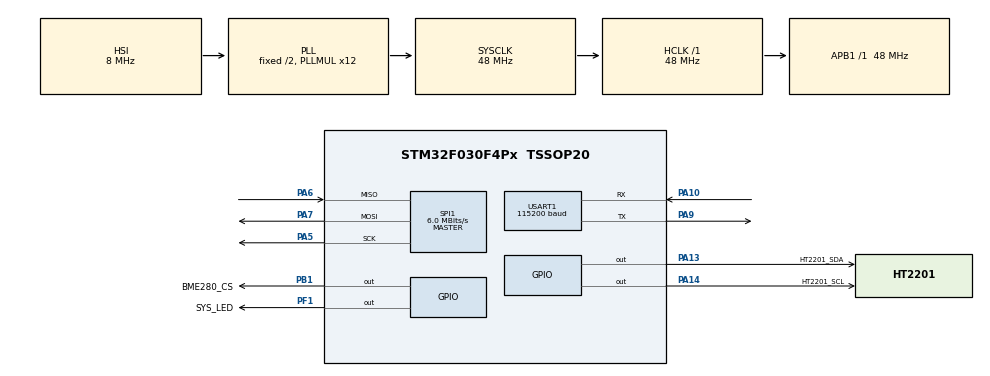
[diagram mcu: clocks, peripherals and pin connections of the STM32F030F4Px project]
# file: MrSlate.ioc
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Mcu.Family=STM32F0
Mcu.Name=STM32F030F4Px
Mcu.Package=TSSOP20
NVIC.USART1_IRQn=true\:2\:0\:true\:false\:true\:true
PA10.Mode=Asynchronous
PA10.Signal=USART1_RX
PA13.GPIO_Label=HT2201_SDA
PA13.PinState=GPIO_PIN_SET
PA13.Signal=GPIO_Output
PA14.GPIO_Label=HT2201_SCL
PA14.PinState=GPIO_PIN_SET
PA14.Signal=GPIO_Output
PA5.Mode=Full_Duplex_Master
PA5.Signal=SPI1_SCK
PA6.Mode=Full_Duplex_Master
PA6.Signal=SPI1_MISO
PA7.Mode=Full_Duplex_Master
PA7.Signal=SPI1_MOSI
PA9.Mode=Asynchronous
PA9.Signal=USART1_TX
PB1.GPIO_Label=BME280_CS
PB1.PinState=GPIO_PIN_SET
PB1.Signal=GPIO_Output
PF1-OSC_OUT.GPIO_Label=SYS_LED
PF1-OSC_OUT.PinState=GPIO_PIN_SET
PF1-OSC_OUT.Signal=GPIO_Output
ProjectManager.HeapSize=0x200
ProjectManager.StackSize=0x400
ProjectManager.TargetToolchain=MDK-ARM V5
RCC.AHBFreq_Value=48000000
RCC.APB1Freq_Value=48000000
RCC.APB1TimFreq_Value=48000000
RCC.HCLKFreq_Value=48000000
RCC.PLLMUL=RCC_PLL_MUL12
RCC.SYSCLKFreq_VALUE=48000000
RCC.SYSCLKSource=RCC_SYSCLKSOURCE_PLLCLK
SPI1.BaudRatePrescaler=SPI_BAUDRATEPRESCALER_8
SPI1.CalculateBaudRate=6.0 MBits/s
SPI1.DataSize=SPI_DATASIZE_8BIT
SPI1.Direction=SPI_DIRECTION_2LINES
SPI1.Mode=SPI_MODE_MASTER
SPI1.VirtualType=VM_MASTER
USART1.BaudRate=115200
USART1.VirtualMode-Asynchronous=VM_ASYNC
board=MrSlate

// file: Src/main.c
/**
  ******************************************************************************
  * File Name          : main.c
  * Description        : Main program body
  ******************************************************************************
  ** This notice applies to any and all portions of this file
  * that are not between comment pairs USER CODE BEGIN and
  * USER CODE END. Other portions of this file, whether
  * inserted by the user or by software development tools
  * are owned by their respective copyright owners.
  *
  * COPYRIGHT(c) 2017 STMicroelectronics
  *
  * Redistribution and use in source and binary forms, with or without modification,
  * are permitted provided that the following conditions are met:
  *   1. Redistributions of source code must retain the above copyright notice,
  *      this list of conditions and the following disclaimer.
  *   2. Redistributions in binary form must reproduce the above copyright notice,
  *      this list of conditions and the following disclaimer in the documentation
  *      and/or other materials provided with the distribution.
  *   3. Neither the name of STMicroelectronics nor the names of its contributors
  *      may be used to endorse or promote products derived from this software
  *      without specific prior written permission.
  *
  * THIS SOFTWARE IS PROVIDED BY THE COPYRIGHT HOLDERS AND CONTRIBUTORS "AS IS"
  * AND ANY EXPRESS OR IMPLIED WARRANTIES, INCLUDING, BUT NOT LIMITED TO, THE
  * IMPLIED WARRANTIES OF MERCHANTABILITY AND FITNESS FOR A PARTICULAR PURPOSE ARE
  * DISCLAIMED. IN NO EVENT SHALL THE COPYRIGHT HOLDER OR CONTRIBUTORS BE LIABLE
  * FOR ANY DIRECT, INDIRECT, INCIDENTAL, SPECIAL, EXEMPLARY, OR CONSEQUENTIAL
  * DAMAGES (INCLUDING, BUT NOT LIMITED TO, PROCUREMENT OF SUBSTITUTE GOODS OR
  * SERVICES; LOSS OF USE, DATA, OR PROFITS; OR BUSINESS INTERRUPTION) HOWEVER
  * CAUSED AND ON ANY THEORY OF LIABILITY, WHETHER IN CONTRACT, STRICT LIABILITY,
  * OR TORT (INCLUDING NEGLIGENCE OR OTHERWISE) ARISING IN ANY WAY OUT OF THE USE
  * OF THIS SOFTWARE, EVEN IF ADVISED OF THE POSSIBILITY OF SUCH DAMAGE.
  *
  ******************************************************************************
  */
#include "main.h"
#include "stm32f0xx_hal.h"

/* USER CODE BEGIN Includes */
#include "bme280.h"
#include "iic_soft.h"
#include <string.h>
#include <stdlib.h>
/* USER CODE END Includes */

SPI_HandleTypeDef hspi1;

UART_HandleTypeDef huart1;

/* USER CODE BEGIN PV */
#define USART_REC_LEN	50
#define HT2201_ADDR	0XA0
/* Private variables ---------------------------------------------------------*/
struct bme280_dev dev;
int8_t rslt = BME280_OK;

u8 USART_RX_BUF[USART_REC_LEN];
u16 USART_RX_STA=0;
u8 aRxBuffer[1];

float Tdata=0;
/* USER CODE END PV */

void SystemClock_Config(void);
static void MX_GPIO_Init(void);
static void MX_USART1_UART_Init(void);
static void MX_SPI1_Init(void);

/* USER CODE BEGIN PFP */
/* Private function prototypes -----------------------------------------------*/
void user_delay_ms(uint32_t period);
int8_t user_spi_read(uint8_t dev_id, uint8_t reg_addr, uint8_t *reg_data, uint16_t len);
int8_t user_spi_write(uint8_t dev_id, uint8_t reg_addr, uint8_t *reg_data, uint16_t len);

void print_sensor_data(struct bme280_data *comp_data);
int8_t stream_sensor_data_normal_mode(struct bme280_dev *dev);

void CommandProcess(void);
/* USER CODE END PFP */

/* USER CODE BEGIN 0 */
/*************************************/
#ifdef __GNUC__
/* With GCC/RAISONANCE, small printf (option LD Linker->Libraries->Small printf
   set to 'Yes') calls __io_putchar() */
#define PUTCHAR_PROTOTYPE int __io_putchar(int ch)
#else
#define PUTCHAR_PROTOTYPE int fputc(int ch, FILE *f)
#endif /* __GNUC__ */

/**
  * @brief  Retargets the C library printf function to the USART.
  * @param  None
  * @retval None
  */
PUTCHAR_PROTOTYPE
{
  /* Place your implementation of fputc here */
  /* e.g. write a character to the USART2 and Loop until the end of transmission */
  HAL_UART_Transmit(&huart1, (uint8_t *)&ch, 1, 0xFFFF);

  return ch;
}
/* USER CODE END 0 */

int main(void)
{

  /* USER CODE BEGIN 1 */
	u8 Key;
  /* USER CODE END 1 */

  /* MCU Configuration----------------------------------------------------------*/

  /* Reset of all peripherals, Initializes the Flash interface and the Systick. */
  HAL_Init();

  /* Configure the system clock */
  SystemClock_Config();

  /* Initialize all configured peripherals */
  MX_GPIO_Init();
  MX_USART1_UART_Init();
  MX_SPI1_Init();

  /* USER CODE BEGIN 2 */
	dev.dev_id = 0;
	dev.intf = BME280_SPI_INTF;
	dev.read = user_spi_read;
	dev.write = user_spi_write;
	dev.delay_ms = user_delay_ms;

	rslt = bme280_init(&dev);

	IIC_DeviceReadBytes(HT2201_ADDR,100,&Key,1,1);
	if(Key=='Y')
	{
		IIC_DeviceReadBytes(HT2201_ADDR,0,(u8*)&Tdata,4,1);
	}
	else Tdata=0;

	HAL_UART_Receive_IT(&huart1, (u8 *)aRxBuffer, 1);//该函数会开启接收中断：标志位UART_IT_RXNE，并且设置接收缓冲以及接收缓冲接收最大数据量(使用回调函数处理中断需要调用该函数）

  /* USER CODE END 2 */

  /* Infinite loop */
  while (1)
  {

  /* USER CODE BEGIN 3 */
		stream_sensor_data_normal_mode(&dev);
  }
  /* USER CODE END 3 */

}

/** System Clock Configuration
*/
void SystemClock_Config(void)
{

  RCC_OscInitTypeDef RCC_OscInitStruct;
  RCC_ClkInitTypeDef RCC_ClkInitStruct;
  RCC_PeriphCLKInitTypeDef PeriphClkInit;

    /**Initializes the CPU, AHB and APB busses clocks
    */
  RCC_OscInitStruct.OscillatorType = RCC_OSCILLATORTYPE_HSI;
  RCC_OscInitStruct.HSIState = RCC_HSI_ON;
  RCC_OscInitStruct.HSICalibrationValue = 16;
  RCC_OscInitStruct.PLL.PLLState = RCC_PLL_ON;
  RCC_OscInitStruct.PLL.PLLSource = RCC_PLLSOURCE_HSI;
  RCC_OscInitStruct.PLL.PLLMUL = RCC_PLL_MUL12;
  RCC_OscInitStruct.PLL.PREDIV = RCC_PREDIV_DIV1;
  if (HAL_RCC_OscConfig(&RCC_OscInitStruct) != HAL_OK)
  {
    _Error_Handler(__FILE__, __LINE__);
  }

    /**Initializes the CPU, AHB and APB busses clocks
    */
  RCC_ClkInitStruct.ClockType = RCC_CLOCKTYPE_HCLK|RCC_CLOCKTYPE_SYSCLK
                              |RCC_CLOCKTYPE_PCLK1;
  RCC_ClkInitStruct.SYSCLKSource = RCC_SYSCLKSOURCE_PLLCLK;
  RCC_ClkInitStruct.AHBCLKDivider = RCC_SYSCLK_DIV1;
  RCC_ClkInitStruct.APB1CLKDivider = RCC_HCLK_DIV1;

  if (HAL_RCC_ClockConfig(&RCC_ClkInitStruct, FLASH_LATENCY_1) != HAL_OK)
  {
    _Error_Handler(__FILE__, __LINE__);
  }

  PeriphClkInit.PeriphClockSelection = RCC_PERIPHCLK_USART1;
  PeriphClkInit.Usart1ClockSelection = RCC_USART1CLKSOURCE_PCLK1;
  if (HAL_RCCEx_PeriphCLKConfig(&PeriphClkInit) != HAL_OK)
  {
    _Error_Handler(__FILE__, __LINE__);
  }

    /**Configure the Systick interrupt time
    */
  HAL_SYSTICK_Config(HAL_RCC_GetHCLKFreq()/1000);

    /**Configure the Systick
    */
  HAL_SYSTICK_CLKSourceConfig(SYSTICK_CLKSOURCE_HCLK);

  /* SysTick_IRQn interrupt configuration */
  HAL_NVIC_SetPriority(SysTick_IRQn, 0, 0);
}

/* SPI1 init function */
static void MX_SPI1_Init(void)
{

  /* SPI1 parameter configuration*/
  hspi1.Instance = SPI1;
  hspi1.Init.Mode = SPI_MODE_MASTER;
  hspi1.Init.Direction = SPI_DIRECTION_2LINES;
  hspi1.Init.DataSize = SPI_DATASIZE_8BIT;
  hspi1.Init.CLKPolarity = SPI_POLARITY_LOW;
  hspi1.Init.CLKPhase = SPI_PHASE_1EDGE;
  hspi1.Init.NSS = SPI_NSS_SOFT;
  hspi1.Init.BaudRatePrescaler = SPI_BAUDRATEPRESCALER_8;
  hspi1.Init.FirstBit = SPI_FIRSTBIT_MSB;
  hspi1.Init.TIMode = SPI_TIMODE_DISABLE;
  hspi1.Init.CRCCalculation = SPI_CRCCALCULATION_DISABLE;
  hspi1.Init.CRCPolynomial = 7;
  hspi1.Init.CRCLength = SPI_CRC_LENGTH_DATASIZE;
  hspi1.Init.NSSPMode = SPI_NSS_PULSE_ENABLE;
  if (HAL_SPI_Init(&hspi1) != HAL_OK)
  {
    _Error_Handler(__FILE__, __LINE__);
  }

}

/* USART1 init function */
static void MX_USART1_UART_Init(void)
{

  huart1.Instance = USART1;
  huart1.Init.BaudRate = 115200;
  huart1.Init.WordLength = UART_WORDLENGTH_8B;
  huart1.Init.StopBits = UART_STOPBITS_1;
  huart1.Init.Parity = UART_PARITY_NONE;
  huart1.Init.Mode = UART_MODE_TX_RX;
  huart1.Init.HwFlowCtl = UART_HWCONTROL_NONE;
  huart1.Init.OverSampling = UART_OVERSAMPLING_16;
  huart1.Init.OneBitSampling = UART_ONE_BIT_SAMPLE_DISABLE;
  huart1.AdvancedInit.AdvFeatureInit = UART_ADVFEATURE_NO_INIT;
  if (HAL_UART_Init(&huart1) != HAL_OK)
  {
    _Error_Handler(__FILE__, __LINE__);
  }

}

/** Configure pins as
        * Analog
        * Input
        * Output
        * EVENT_OUT
        * EXTI
*/
static void MX_GPIO_Init(void)
{

  GPIO_InitTypeDef GPIO_InitStruct;

  /* GPIO Ports Clock Enable */
  __HAL_RCC_GPIOF_CLK_ENABLE();
  __HAL_RCC_GPIOA_CLK_ENABLE();
  __HAL_RCC_GPIOB_CLK_ENABLE();

  /*Configure GPIO pin Output Level */
  HAL_GPIO_WritePin(SYS_LED_GPIO_Port, SYS_LED_Pin, GPIO_PIN_SET);

  /*Configure GPIO pin Output Level */
  HAL_GPIO_WritePin(BME280_CS_GPIO_Port, BME280_CS_Pin, GPIO_PIN_SET);

  /*Configure GPIO pin Output Level */
  HAL_GPIO_WritePin(GPIOA, HT2201_SDA_Pin|HT2201_SCL_Pin, GPIO_PIN_SET);

  /*Configure GPIO pin : SYS_LED_Pin */
  GPIO_InitStruct.Pin = SYS_LED_Pin;
  GPIO_InitStruct.Mode = GPIO_MODE_OUTPUT_PP;
  GPIO_InitStruct.Pull = GPIO_NOPULL;
  GPIO_InitStruct.Speed = GPIO_SPEED_FREQ_LOW;
  HAL_GPIO_Init(SYS_LED_GPIO_Port, &GPIO_InitStruct);

  /*Configure GPIO pin : BME280_CS_Pin */
  GPIO_InitStruct.Pin = BME280_CS_Pin;
  GPIO_InitStruct.Mode = GPIO_MODE_OUTPUT_PP;
  GPIO_InitStruct.Pull = GPIO_NOPULL;
  GPIO_InitStruct.Speed = GPIO_SPEED_FREQ_LOW;
  HAL_GPIO_Init(BME280_CS_GPIO_Port, &GPIO_InitStruct);

  /*Configure GPIO pins : HT2201_SDA_Pin HT2201_SCL_Pin */
  GPIO_InitStruct.Pin = HT2201_SDA_Pin|HT2201_SCL_Pin;
  GPIO_InitStruct.Mode = GPIO_MODE_OUTPUT_PP;
  GPIO_InitStruct.Pull = GPIO_NOPULL;
  GPIO_InitStruct.Speed = GPIO_SPEED_FREQ_LOW;
  HAL_GPIO_Init(GPIOA, &GPIO_InitStruct);

}

/* USER CODE BEGIN 4 */
void user_delay_ms(uint32_t period)
{
    /*
     * Return control or wait,
     * for a period amount of milliseconds
     */
		HAL_Delay(period);
}
//
int8_t user_spi_read(uint8_t dev_id, uint8_t reg_addr, uint8_t *reg_data, uint16_t len)
{
    int8_t rslt = 0; /* Return 0 for Success, non-zero for failure */
    /*
     * The parameter dev_id can be used as a variable to select which Chip Select pin has
     * to be set low to activate the relevant device on the SPI bus
     */
    /*
     * Data on the bus should be like
     * |----------------+---------------------+-------------|
     * | MOSI           | MISO                | Chip Select |
     * |----------------+---------------------|-------------|
     * | (don't care)   | (don't care)        | HIGH        |
     * | (reg_addr)     | (don't care)        | LOW         |
     * | (don't care)   | (reg_data[0])       | LOW         |
     * | (....)         | (....)              | LOW         |
     * | (don't care)   | (reg_data[len - 1]) | LOW         |
     * | (don't care)   | (don't care)        | HIGH        |
     * |----------------+---------------------|-------------|
     */
		switch(dev_id)
		{
			case 0:
								HAL_GPIO_WritePin(BME280_CS_GPIO_Port, BME280_CS_Pin, GPIO_PIN_RESET);
								HAL_SPI_Transmit(&hspi1,	&reg_addr,		1, 	HAL_MAX_DELAY);
								HAL_SPI_Receive(&hspi1,		reg_data,		len,	HAL_MAX_DELAY);
								HAL_GPIO_WritePin(BME280_CS_GPIO_Port, BME280_CS_Pin, GPIO_PIN_SET);

				break;
			default:
				break;
		}
    return rslt;
}
//
int8_t user_spi_write(uint8_t dev_id, uint8_t reg_addr, uint8_t *reg_data, uint16_t len)
{
    int8_t rslt = 0; /* Return 0 for Success, non-zero for failure */
    /*
     * The parameter dev_id can be used as a variable to select which Chip Select pin has
     * to be set low to activate the relevant device on the SPI bus
     */

    /*
     * Data on the bus should be like
     * |---------------------+--------------+-------------|
     * | MOSI                | MISO         | Chip Select |
     * |---------------------+--------------|-------------|
     * | (don't care)        | (don't care) | HIGH        |
     * | (reg_addr)          | (don't care) | LOW         |
     * | (reg_data[0])       | (don't care) | LOW         |
     * | (....)              | (....)       | LOW         |
     * | (reg_data[len - 1]) | (don't care) | LOW         |
     * | (don't care)        | (don't care) | HIGH        |
     * |---------------------+--------------|-------------|
     */
		switch(dev_id)
		{
			case 0:
								HAL_GPIO_WritePin(BME280_CS_GPIO_Port, BME280_CS_Pin, GPIO_PIN_RESET);
								HAL_SPI_Transmit(&hspi1,	&reg_addr,		1, 	HAL_MAX_DELAY);
								HAL_SPI_Transmit(&hspi1,	reg_data,		len, 	HAL_MAX_DELAY);
								HAL_GPIO_WritePin(BME280_CS_GPIO_Port, BME280_CS_Pin, GPIO_PIN_SET);

				break;
			default:
				break;
		}
    return rslt;
}
//
void print_sensor_data(struct bme280_data *comp_data)
{
#ifdef BME280_FLOAT_ENABLE
        printf("%0.2f,%0.2f,%0.2f\r\n",comp_data->temperature-Tdata, comp_data->humidity, comp_data->pressure/1000);
#else
        //printf("%ld, %ld, %ld\r\n",comp_data->temperature, comp_data->pressure, comp_data->humidity);
#endif
}
//
int8_t stream_sensor_data_normal_mode(struct bme280_dev *dev)
{
	int8_t rslt;
	uint8_t settings_sel;
	struct bme280_data comp_data;

	u32 BlinkDelay;
	/* Recommended mode of operation: Indoor navigation */
	dev->settings.osr_h = BME280_OVERSAMPLING_16X;
	dev->settings.osr_p = BME280_OVERSAMPLING_16X;
	dev->settings.osr_t = BME280_OVERSAMPLING_16X;
	dev->settings.filter = BME280_FILTER_COEFF_OFF;
	dev->settings.standby_time = BME280_STANDBY_TIME_1_MS;

	settings_sel = BME280_OSR_PRESS_SEL;
	settings_sel |= BME280_OSR_TEMP_SEL;
	settings_sel |= BME280_OSR_HUM_SEL;
	settings_sel |= BME280_STANDBY_SEL;
	settings_sel |= BME280_FILTER_SEL;
	rslt = bme280_set_sensor_settings(settings_sel, dev);
	rslt = bme280_set_sensor_mode(BME280_NORMAL_MODE, dev);

	printf("Temperature, Humidity, Pressure\r\n");
	BlinkDelay=HAL_GetTick();
	while (1)
	{
		/* Delay while the sensor completes a measurement */
		CommandProcess();
		//dev->delay_ms(200);
		if(abs((int)(HAL_GetTick()-BlinkDelay))>200)
		{
			HAL_GPIO_TogglePin(SYS_LED_GPIO_Port, SYS_LED_Pin);
			rslt = bme280_get_sensor_data(BME280_ALL, &comp_data, dev);
			print_sensor_data(&comp_data);
			BlinkDelay=HAL_GetTick();
		}
	}

	return rslt;
}
//
//void HAL_UART_RxCpltCallback(UART_HandleTypeDef *huart)
//{
//	if(huart->Instance==USART1)//如果是串口1
//	{
//		if((USART_RX_STA&0x8000)==0)//接收未完成
//		{
//			if(USART_RX_STA&0x4000)//接收到了0x0d
//			{
//				if(aRxBuffer[0]!=0x0a)USART_RX_STA=0;//接收错误,重新开始
//				else USART_RX_STA|=0x8000;	//接收完成了
//			}
//			else //还没收到0X0D
//			{
//				if(aRxBuffer[0]==0x0d)USART_RX_STA|=0x4000;
//				else
//				{
//					USART_RX_BUF[USART_RX_STA&0X3FFF]=aRxBuffer[0] ;
//					USART_RX_STA++;
//					if(USART_RX_STA>(USART_REC_LEN-1))USART_RX_STA=0;//接收数据错误,重新开始接收
//				}
//			}
//		}

//	}
//}
//
////串口1中断服务程序
//void USART1_IRQHandler(void)
//{
//
//	HAL_UART_IRQHandler(&huart1);	//调用HAL库中断处理公用函数
//
//  while (HAL_UART_GetState(&huart1) != HAL_UART_STATE_READY);//等待就绪

//	while(HAL_UART_Receive_IT(&huart1, (u8 *)aRxBuffer, 1) != HAL_OK);//一次处理完成之后，重新开启中断并设置RxXferCount为1

//}
//
void CommandProcess(void)
{
	u8 len;
	if(USART_RX_STA&0x8000)									//接收到\r\n
	{
		len=USART_RX_STA&0x3fff;							//得到此次接收到的数据长度
		USART_RX_BUF[len]='\0';								//在末尾加入结束符.

		if(USART_RX_BUF[0]=='\0')	;

		else if(strncmp("Temperature=",	(char*)USART_RX_BUF,12)==0)
		//else if(USART_RX_BUF[0]=='T' && USART_RX_BUF[1]=='=')
		{
			char *p = NULL;
			char *s = (char*)&USART_RX_BUF[12];
			float Cal_T=strtod(s, &p);
			//if(*p=='\0')
			{
				struct bme280_data comp_data;
				bme280_get_sensor_data(BME280_ALL, &comp_data, &dev);
				Tdata=comp_data.temperature-Cal_T;
				IIC_DeviceWriteBytes(HT2201_ADDR,0,(u8*)&Tdata,4,1);
				IIC_DeviceWriteBytes(HT2201_ADDR,100,(u8*)'Y',1,1);
				printf("Get_T=%f\r\n",comp_data.temperature);
				printf("Cal_T=%f\r\n",Cal_T);
				printf("Tdata=%f\r\n",Tdata);
			}
		}
		USART_RX_STA=0;
	}
}
//
/* USER CODE END 4 */

void _Error_Handler(char * file, int line)
{
  while(1)
  {
  }
}

/************************ (C) COPYRIGHT STMicroelectronics *****END OF FILE****/
